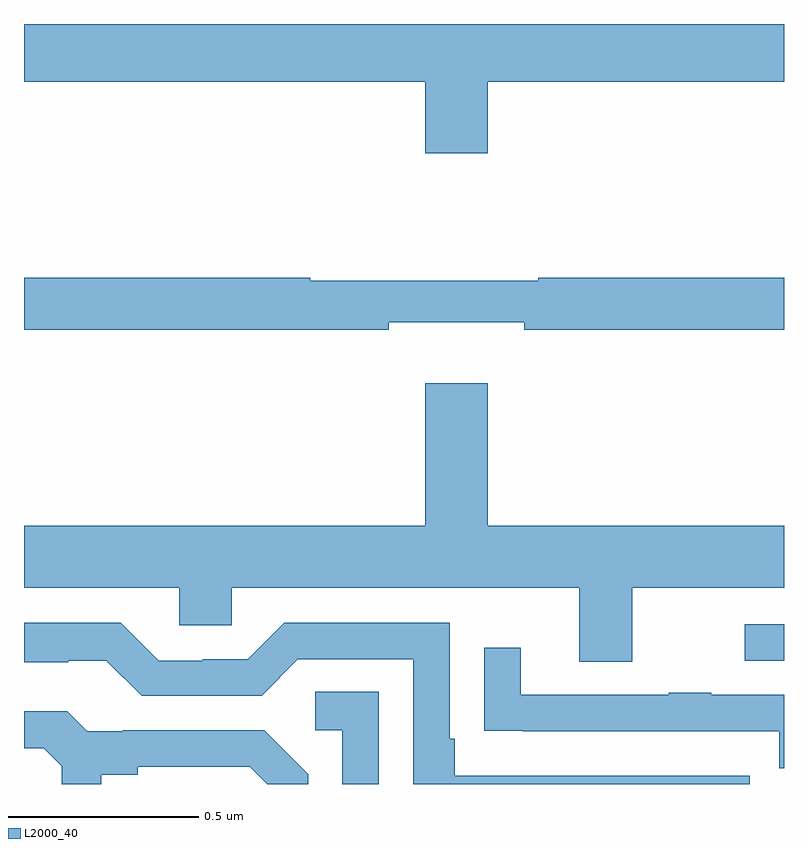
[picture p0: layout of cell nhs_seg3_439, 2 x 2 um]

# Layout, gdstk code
import gdstk
lib = gdstk.Library(unit=1e-6, precision=1e-09)
def R(c, l, rs):  # rectangles x0, y0, x1, y1
    for r in rs: c.add(gdstk.rectangle(r[:2], r[2:], *l))
def P(c, l, *ps):  # polygons
    for p in ps: c.add(gdstk.Polygon(p, *l))
L2000_40 = (2000, 40)

nhs_seg3_439 = lib.new_cell('nhs_seg3_439')
R(nhs_seg3_439, L2000_40, [(117.897,700.725,118,700.821)])
P(nhs_seg3_439, L2000_40, [(117.22,702.248),(118,702.248),(118,702.4),(116,702.4),(116,702.248),(117.056,702.248),(117.056,702.06),(117.22,702.06)],
  [(116.96,701.615),(117.316,701.615),(117.316,701.596),(118,701.596),(118,701.732),(117.353,701.732),(117.353,701.725),(116.753,701.725),(116.753,701.732),(116,701.732),(116,701.596),(116.96,701.596)],
  [(117.601,700.916),(118,700.916),(118,701.08),(117.22,701.08),(117.22,701.455),(117.056,701.455),(117.056,701.08),(116,701.08),(116,700.916),(116.409,700.916),(116.409,700.818),(116.547,700.818),(116.547,700.916),(117.461,700.916),(117.461,700.722),(117.601,700.722)],
  [(117.91,700.422),(117.133,700.422),(117.133,700.519),(117.12,700.519),(117.12,700.824),(116.685,700.824),(116.589,700.728),(116.471,700.728),(116.471,700.725),(116.355,700.725),(116.255,700.825),(116,700.825),(116,700.721),(116.117,700.721),(116.117,700.725),(116.217,700.725),(116.31,700.632),(116.625,700.632),(116.721,700.728),(117.024,700.728),(117.024,700.4),(117.91,700.4)],
  [(118,700.635),(117.809,700.635),(117.809,700.64),(117.697,700.64),(117.697,700.635),(117.307,700.635),(117.307,700.759),(117.211,700.759),(117.211,700.54),(117.313,700.54),(117.313,700.539),(117.988,700.539),(117.988,700.442),(118,700.442)],
  [(116.934,700.643),(116.766,700.643),(116.766,700.542),(116.838,700.542),(116.838,700.4),(116.934,700.4)],
  [(116.203,700.424),(116.299,700.424),(116.299,700.446),(116.594,700.446),(116.64,700.4),(116.748,700.4),(116.748,700.426),(116.632,700.542),(116.26,700.542),(116.26,700.539),(116.166,700.539),(116.114,700.591),(116,700.591),(116,700.494),(116.052,700.494),(116.099,700.447),(116.099,700.4),(116.203,700.4)])

lib.write_gds('nhs_seg3_439.gds')
